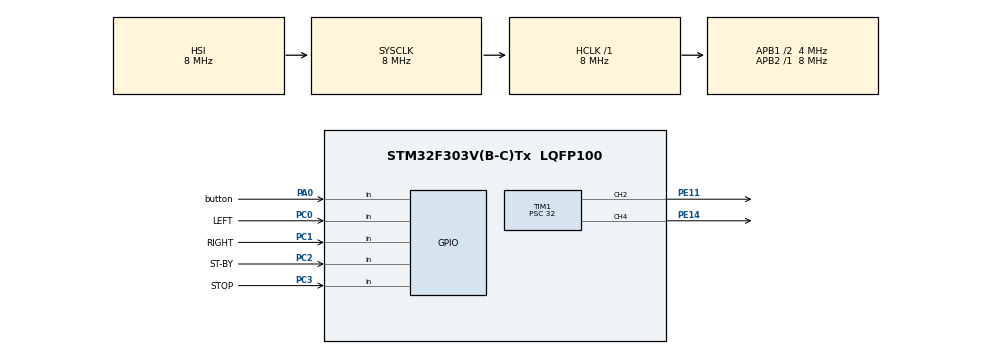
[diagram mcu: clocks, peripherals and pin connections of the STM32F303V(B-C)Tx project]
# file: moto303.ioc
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Mcu.Family=STM32F3
Mcu.Name=STM32F303V(B-C)Tx
Mcu.Package=LQFP100
NVIC.PriorityGroup=NVIC_PRIORITYGROUP_0
PA0.GPIO_Label=button
PA0.GPIO_PuPd=GPIO_PULLUP
PA0.Signal=GPIO_Input
PA13.GPIO_Label=SWDIO
PA13.Mode=Serial_Wire
PA13.Signal=SYS_JTMS-SWDIO
PA14.GPIO_Label=SWCLK
PA14.Mode=Serial_Wire
PA14.Signal=SYS_JTCK-SWCLK
PB3.GPIO_Label=SWO
PB3.Signal=SYS_JTDO-TRACESWO
PC0.GPIO_Label=LEFT
PC0.GPIO_PuPd=GPIO_PULLUP
PC0.Signal=GPIO_Input
PC1.GPIO_Label=RIGHT
PC1.GPIO_PuPd=GPIO_PULLUP
PC1.Signal=GPIO_Input
PC2.GPIO_Label=ST-BY
PC2.GPIO_PuPd=GPIO_PULLUP
PC2.Signal=GPIO_Input
PC3.GPIO_Label=STOP
PC3.GPIO_PuPd=GPIO_PULLUP
PC3.Signal=GPIO_Input
PE11.Signal=S_TIM1_CH2
PE14.Signal=S_TIM1_CH4
ProjectManager.HeapSize=0x200
ProjectManager.StackSize=0x400
ProjectManager.TargetToolchain=STM32CubeIDE
RCC.AHBFreq_Value=8000000
RCC.APB1CLKDivider=RCC_HCLK_DIV2
RCC.APB1Freq_Value=4000000
RCC.APB1TimFreq_Value=8000000
RCC.APB2Freq_Value=8000000
RCC.APB2TimFreq_Value=8000000
RCC.CortexFreq_Value=8000000
RCC.HCLKFreq_Value=8000000
RCC.HSE_VALUE=8000000
RCC.HSI_VALUE=8000000
RCC.LSE_VALUE=32768
RCC.PLLMUL=RCC_PLL_MUL6
RCC.SYSCLKFreq_VALUE=8000000
RCC.USBFreq_Value=24000000
SH.S_TIM1_CH2.0=TIM1_CH2,PWM Generation2 CH2
SH.S_TIM1_CH4.0=TIM1_CH4,PWM Generation4 CH4
TIM1.Channel-PWM\ Generation2\ CH2=TIM_CHANNEL_2
TIM1.Channel-PWM\ Generation4\ CH4=TIM_CHANNEL_4
TIM1.Period=256
TIM1.Prescaler=32
board=STM32F3DISCOVERY

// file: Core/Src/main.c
/* USER CODE BEGIN Header */
/**
  ******************************************************************************
  * @file           : main.c
  * @brief          : Main program body
  ******************************************************************************
  * @attention
  *
  * <h2><center>&copy; Copyright (c) 2020 STMicroelectronics.
  * All rights reserved.</center></h2>
  *
  * This software component is licensed by ST under BSD 3-Clause license,
  * the "License"; You may not use this file except in compliance with the
  * License. You may obtain a copy of the License at:
  *                        opensource.org/licenses/BSD-3-Clause
  *
  ******************************************************************************
  */
/* USER CODE END Header */

#include "main.h"

/* USER CODE BEGIN PTD */
// Config variables
int st_by_power = 250;
int fast_blink = 50;
int slow_blink = 100; // slow_blink > fast_blink
int turn_delay = 2000;

// Service variables
int low_light = 255;
int result = 0x0000;
int time_flag = 0;
/* USER CODE END PTD */

TIM_HandleTypeDef htim1;

void SystemClock_Config(void);
static void MX_GPIO_Init(void);
static void MX_TIM1_Init(void);

int main(void)
{

  /* MCU Configuration--------------------------------------------------------*/

  /* Reset of all peripherals, Initializes the Flash interface and the Systick. */
  HAL_Init();

  /* Configure the system clock */
  SystemClock_Config();

  /* Initialize all configured peripherals */
  MX_GPIO_Init();
  MX_TIM1_Init();
  /* USER CODE BEGIN 2 */
  HAL_TIM_PWM_Start(&htim1, TIM_CHANNEL_2);
  HAL_TIM_PWM_Start(&htim1, TIM_CHANNEL_4);
  /* USER CODE END 2 */

  /* Infinite loop */
  /* USER CODE BEGIN WHILE */
  init_check();
  while (1)
  {
    measure();

    // Read inputs and make a decision

    if (HAL_GPIO_ReadPin(ST_BY_GPIO_Port, ST_BY_Pin) == GPIO_PIN_RESET)
    {
      low_light = st_by_power; // Slight light
    }
    else
    {
      low_light = 0; // Light off
    }

    switch (result)
    {
    case 0: // OFF
      off();
      break;
    case 1: // STOP & RIGHT
      sright();
      break;
    case 2: // STOP & LEFT
      sleft();
      break;
    case 3: // STOP when turning and STROBE by default
      if (HAL_GetTick() > (time_flag + turn_delay))
      {
        strobe(); // Strobe signal on stop when going straight
      }
      else
      {
        stop(); // Just the stop signal in pauses of turn signal blinking
      }
      break;
    case 4: // OFF
      off();
      break;
    case 5: // RIGHT
      right();
      break;
    case 6: // LEFT
      left();
      break;
    case 7: // OFF
      off();
      break;
    default: // NO input or error occurred
      off();
      break;
    }

    /* USER CODE END WHILE */

  }
}

void SystemClock_Config(void)
{
  RCC_OscInitTypeDef RCC_OscInitStruct = {0};
  RCC_ClkInitTypeDef RCC_ClkInitStruct = {0};
  RCC_PeriphCLKInitTypeDef PeriphClkInit = {0};

  /** Initializes the CPU, AHB and APB busses clocks
  */
  RCC_OscInitStruct.OscillatorType = RCC_OSCILLATORTYPE_HSI;
  RCC_OscInitStruct.HSIState = RCC_HSI_ON;
  RCC_OscInitStruct.HSICalibrationValue = RCC_HSICALIBRATION_DEFAULT;
  RCC_OscInitStruct.PLL.PLLState = RCC_PLL_NONE;
  if (HAL_RCC_OscConfig(&RCC_OscInitStruct) != HAL_OK)
  {
    Error_Handler();
  }
  /** Initializes the CPU, AHB and APB busses clocks
  */
  RCC_ClkInitStruct.ClockType = RCC_CLOCKTYPE_HCLK|RCC_CLOCKTYPE_SYSCLK
                              |RCC_CLOCKTYPE_PCLK1|RCC_CLOCKTYPE_PCLK2;
  RCC_ClkInitStruct.SYSCLKSource = RCC_SYSCLKSOURCE_HSI;
  RCC_ClkInitStruct.AHBCLKDivider = RCC_SYSCLK_DIV1;
  RCC_ClkInitStruct.APB1CLKDivider = RCC_HCLK_DIV2;
  RCC_ClkInitStruct.APB2CLKDivider = RCC_HCLK_DIV1;

  if (HAL_RCC_ClockConfig(&RCC_ClkInitStruct, FLASH_LATENCY_0) != HAL_OK)
  {
    Error_Handler();
  }
  PeriphClkInit.PeriphClockSelection = RCC_PERIPHCLK_TIM1;
  PeriphClkInit.Tim1ClockSelection = RCC_TIM1CLK_HCLK;
  if (HAL_RCCEx_PeriphCLKConfig(&PeriphClkInit) != HAL_OK)
  {
    Error_Handler();
  }
}

static void MX_TIM1_Init(void)
{

  TIM_MasterConfigTypeDef sMasterConfig = {0};
  TIM_OC_InitTypeDef sConfigOC = {0};
  TIM_BreakDeadTimeConfigTypeDef sBreakDeadTimeConfig = {0};

  htim1.Instance = TIM1;
  htim1.Init.Prescaler = 32;
  htim1.Init.CounterMode = TIM_COUNTERMODE_UP;
  htim1.Init.Period = 256;
  htim1.Init.ClockDivision = TIM_CLOCKDIVISION_DIV1;
  htim1.Init.RepetitionCounter = 0;
  htim1.Init.AutoReloadPreload = TIM_AUTORELOAD_PRELOAD_DISABLE;
  if (HAL_TIM_PWM_Init(&htim1) != HAL_OK)
  {
    Error_Handler();
  }
  sMasterConfig.MasterOutputTrigger = TIM_TRGO_RESET;
  sMasterConfig.MasterOutputTrigger2 = TIM_TRGO2_RESET;
  sMasterConfig.MasterSlaveMode = TIM_MASTERSLAVEMODE_DISABLE;
  if (HAL_TIMEx_MasterConfigSynchronization(&htim1, &sMasterConfig) != HAL_OK)
  {
    Error_Handler();
  }
  sConfigOC.OCMode = TIM_OCMODE_PWM1;
  sConfigOC.Pulse = 0;
  sConfigOC.OCPolarity = TIM_OCPOLARITY_HIGH;
  sConfigOC.OCNPolarity = TIM_OCNPOLARITY_HIGH;
  sConfigOC.OCFastMode = TIM_OCFAST_DISABLE;
  sConfigOC.OCIdleState = TIM_OCIDLESTATE_RESET;
  sConfigOC.OCNIdleState = TIM_OCNIDLESTATE_RESET;
  if (HAL_TIM_PWM_ConfigChannel(&htim1, &sConfigOC, TIM_CHANNEL_2) != HAL_OK)
  {
    Error_Handler();
  }
  if (HAL_TIM_PWM_ConfigChannel(&htim1, &sConfigOC, TIM_CHANNEL_4) != HAL_OK)
  {
    Error_Handler();
  }
  sBreakDeadTimeConfig.OffStateRunMode = TIM_OSSR_DISABLE;
  sBreakDeadTimeConfig.OffStateIDLEMode = TIM_OSSI_DISABLE;
  sBreakDeadTimeConfig.LockLevel = TIM_LOCKLEVEL_OFF;
  sBreakDeadTimeConfig.DeadTime = 0;
  sBreakDeadTimeConfig.BreakState = TIM_BREAK_DISABLE;
  sBreakDeadTimeConfig.BreakPolarity = TIM_BREAKPOLARITY_HIGH;
  sBreakDeadTimeConfig.BreakFilter = 0;
  sBreakDeadTimeConfig.Break2State = TIM_BREAK2_DISABLE;
  sBreakDeadTimeConfig.Break2Polarity = TIM_BREAK2POLARITY_HIGH;
  sBreakDeadTimeConfig.Break2Filter = 0;
  sBreakDeadTimeConfig.AutomaticOutput = TIM_AUTOMATICOUTPUT_DISABLE;
  if (HAL_TIMEx_ConfigBreakDeadTime(&htim1, &sBreakDeadTimeConfig) != HAL_OK)
  {
    Error_Handler();
  }
  HAL_TIM_MspPostInit(&htim1);

}

static void MX_GPIO_Init(void)
{
  GPIO_InitTypeDef GPIO_InitStruct = {0};

  /* GPIO Ports Clock Enable */
  __HAL_RCC_GPIOC_CLK_ENABLE();
  __HAL_RCC_GPIOA_CLK_ENABLE();
  __HAL_RCC_GPIOE_CLK_ENABLE();
  __HAL_RCC_GPIOB_CLK_ENABLE();

  /*Configure GPIO pins : LEFT_Pin RIGHT_Pin ST_BY_Pin STOP_Pin */
  GPIO_InitStruct.Pin = LEFT_Pin|RIGHT_Pin|ST_BY_Pin|STOP_Pin;
  GPIO_InitStruct.Mode = GPIO_MODE_INPUT;
  GPIO_InitStruct.Pull = GPIO_PULLUP;
  HAL_GPIO_Init(GPIOC, &GPIO_InitStruct);

  /*Configure GPIO pin : button_Pin */
  GPIO_InitStruct.Pin = button_Pin;
  GPIO_InitStruct.Mode = GPIO_MODE_INPUT;
  GPIO_InitStruct.Pull = GPIO_PULLUP;
  HAL_GPIO_Init(button_GPIO_Port, &GPIO_InitStruct);

}

/* USER CODE BEGIN 4 */
int measure()
{
  result ^= (-(HAL_GPIO_ReadPin(LEFT_GPIO_Port, LEFT_Pin)) ^ result) & (1UL << 0);
  result ^= (-(HAL_GPIO_ReadPin(RIGHT_GPIO_Port, RIGHT_Pin)) ^ result) & (1UL << 1);
  result ^= (-(HAL_GPIO_ReadPin(STOP_GPIO_Port, STOP_Pin)) ^ result) & (1UL << 2);
  return 0;
}

int init_check()
{
  for (int i = 0; i > 255; i++)
  {
    TIM1->CCR2 = i;
    TIM1->CCR4 = 255 - i;
    HAL_Delay(10);
  }
  return 0;
}

int stop()
{
  TIM1->CCR2 = 255;
  TIM1->CCR4 = 255;
  return 0;
}

int strobe()
{
  // Fast blink
  TIM1->CCR2 = 0;
  TIM1->CCR4 = 0;
  HAL_Delay(fast_blink);

  TIM1->CCR2 = 255;
  TIM1->CCR4 = 255;
  HAL_Delay(fast_blink);

  TIM1->CCR2 = 0;
  TIM1->CCR4 = 0;
  HAL_Delay(fast_blink);

  TIM1->CCR2 = 255;
  TIM1->CCR4 = 255;
  HAL_Delay(fast_blink);

  TIM1->CCR2 = 0;
  TIM1->CCR4 = 0;
  HAL_Delay(fast_blink);

  TIM1->CCR2 = 255;
  TIM1->CCR4 = 255;
  HAL_Delay(fast_blink);

  // Slow blink if break is not released yet
  measure();
  if (result == 3)
  {
    TIM1->CCR2 = 0;
    TIM1->CCR4 = 0;
    HAL_Delay(slow_blink);

    TIM1->CCR2 = 255;
    TIM1->CCR4 = 255;
    HAL_Delay(slow_blink);

    TIM1->CCR2 = 0;
    TIM1->CCR4 = 0;
    HAL_Delay(slow_blink);

    TIM1->CCR2 = 255;
    TIM1->CCR4 = 255;
    HAL_Delay(slow_blink);

    TIM1->CCR2 = 0;
    TIM1->CCR4 = 0;
    HAL_Delay(slow_blink);

    TIM1->CCR2 = 255;
    TIM1->CCR4 = 255;
    HAL_Delay(slow_blink);
  }
  else
  {
    return 0;
  }

  // Static stop light
  while (result == 3)
  {
    TIM1->CCR2 = 255;
    TIM1->CCR4 = 255;
    HAL_Delay(100);
    measure();
  }
  return 0;
}

int left()
{
  TIM1->CCR2 = 0;
  TIM1->CCR4 = 255;
  time_flag = HAL_GetTick();
  return 0;
}

int right()
{
  TIM1->CCR2 = 255;
  TIM1->CCR4 = 0;
  time_flag = HAL_GetTick();
  return 0;
}

int sleft()
{
  TIM1->CCR2 = 255;
  TIM1->CCR4 = 0;
  time_flag = HAL_GetTick();
  return 0;
}

int sright()
{
  TIM1->CCR2 = 0;
  TIM1->CCR4 = 255;
  time_flag = HAL_GetTick();
  return 0;
}

int off()
{
  TIM1->CCR2 = low_light;
  TIM1->CCR4 = low_light;
  return 0;
}

/* USER CODE END 4 */

void Error_Handler(void)
{
}

/************************ (C) COPYRIGHT STMicroelectronics *****END OF FILE****/
